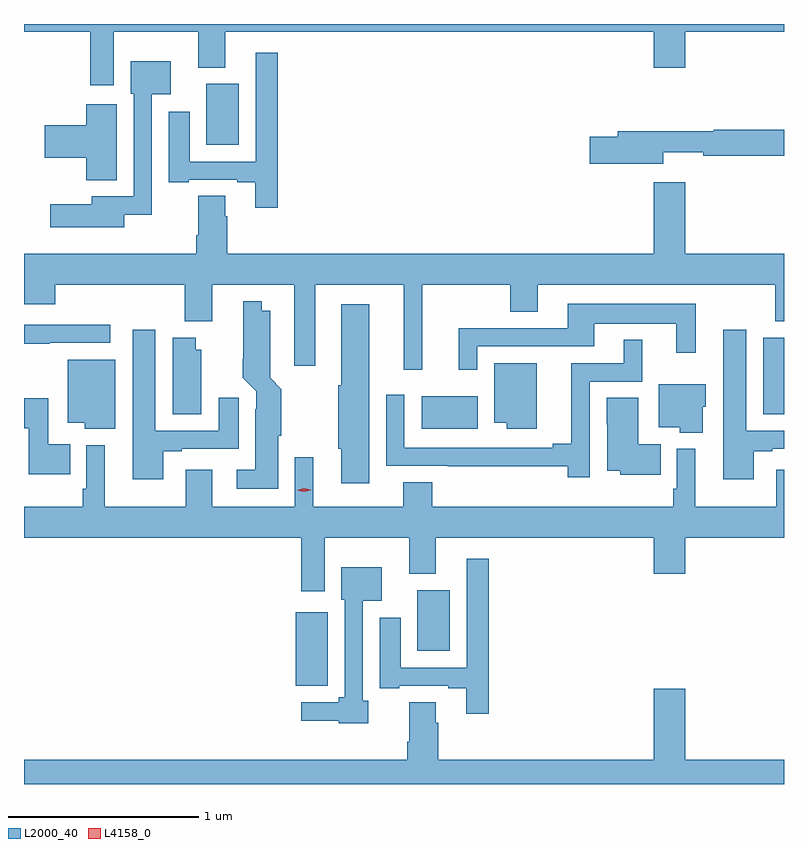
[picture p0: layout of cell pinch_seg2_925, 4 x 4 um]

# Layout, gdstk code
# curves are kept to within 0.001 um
import gdstk
lib = gdstk.Library(unit=1e-6, precision=1e-09)
def R(c, l, rs):  # rectangles x0, y0, x1, y1
    for r in rs: c.add(gdstk.rectangle(r[:2], r[2:], *l))
def P(c, l, *ps):  # polygons
    for p in ps: c.add(gdstk.Polygon(p, *l))
L2000_40 = (2000, 40)
L4158_0 = (4158, 0)

pinch_seg2_925 = lib.new_cell('pinch_seg2_925')
R(pinch_seg2_925, L2000_40, [(330.956,653.519,331.123,653.905), (331.595,653.702,331.765,654.022), (331.619,654.872,331.912,655.042), (333.416,654.946,333.525,655.351), (330.485,656.366,330.655,656.686)])
P(pinch_seg2_925, L2000_40, [(329.998,656.96),(330.443,656.96),(330.443,656.771),(330.583,656.771),(330.583,656.96),(332.84,656.96),(332.84,656.772),(333.004,656.772),(333.004,656.96),(333.525,656.96),(333.525,657.001),(329.525,657.001),(329.525,656.96),(329.873,656.96),(329.873,656.679),(329.998,656.679)],
  [(330.86,656.851),(330.744,656.851),(330.744,656.277),(330.397,656.277),(330.397,656.539),(330.287,656.539),(330.287,656.169),(330.391,656.169),(330.391,656.181),(330.647,656.181),(330.647,656.169),(330.743,656.169),(330.743,656.034),(330.86,656.034)],
  [(330.052,655.997),(330.198,655.997),(330.198,656.63),(330.298,656.63),(330.298,656.806),(330.086,656.806),(330.086,656.634),(330.102,656.634),(330.102,656.094),(329.882,656.094),(329.882,656.053),(329.664,656.053),(329.664,655.931),(330.052,655.931)],
  [(330.013,656.578),(329.852,656.578),(329.852,656.468),(329.634,656.468),(329.634,656.297),(329.852,656.297),(329.852,656.179),(330.013,656.179)],
  [(332.89,656.327),(333.1,656.327),(333.1,656.308),(333.525,656.308),(333.525,656.444),(333.155,656.444),(333.155,656.437),(332.651,656.437),(332.651,656.408),(332.502,656.408),(332.502,656.266),(332.89,656.266)],
  [(331.622,655.628),(332.083,655.628),(332.083,655.486),(332.23,655.486),(332.23,655.628),(333.478,655.628),(333.478,655.436),(333.525,655.436),(333.525,655.792),(333.004,655.792),(333.004,656.167),(332.84,656.167),(332.84,655.792),(330.596,655.792),(330.596,655.988),(330.583,655.988),(330.583,656.096),(330.443,656.096),(330.443,655.888),(330.431,655.888),(330.431,655.792),(329.525,655.792),(329.525,655.526),(329.69,655.526),(329.69,655.628),(330.37,655.628),(330.37,655.436),(330.517,655.436),(330.517,655.628),(330.947,655.628),(330.947,655.203),(331.057,655.203),(331.057,655.628),(331.523,655.628),(331.523,655.182),(331.622,655.182)],
  [(330.862,654.834),(330.88,654.834),(330.88,655.079),(330.821,655.138),(330.82,655.492),(330.775,655.492),(330.775,655.543),(330.678,655.543),(330.677,655.138),(330.747,655.068),(330.747,654.974),(330.743,654.974),(330.743,654.655),(330.645,654.655),(330.645,654.554),(330.862,654.554)],
  [(331.911,655.305),(332.527,655.305),(332.527,655.424),(332.957,655.424),(332.957,655.272),(333.061,655.272),(333.061,655.528),(332.387,655.528),(332.387,655.401),(331.814,655.401),(331.814,655.182),(331.911,655.182)],
  [(331.342,655.525),(331.196,655.525),(331.196,655.101),(331.178,655.101),(331.178,654.765),(331.196,654.765),(331.196,654.585),(331.342,654.585)],
  [(329.66,655.323),(329.98,655.323),(329.98,655.419),(329.525,655.419),(329.525,655.318),(329.66,655.318)],
  [(333.367,654.753),(333.463,654.753),(333.463,654.765),(333.525,654.765),(333.525,654.861),(333.325,654.861),(333.325,655.393),(333.206,655.393),(333.206,654.606),(333.367,654.606)],
  [(330.259,654.753),(330.355,654.753),(330.355,654.765),(330.655,654.765),(330.655,655.033),(330.551,655.033),(330.551,654.861),(330.217,654.861),(330.217,655.393),(330.098,655.393),(330.098,654.606),(330.259,654.606)],
  [(330.457,655.287),(330.43,655.287),(330.43,655.351),(330.308,655.351),(330.308,654.946),(330.457,654.946)],
  [(332.502,655.119),(332.779,655.119),(332.779,655.339),(332.681,655.339),(332.681,655.215),(332.405,655.215),(332.405,654.791),(332.309,654.791),(332.309,654.771),(331.527,654.771),(331.527,655.051),(331.431,655.051),(331.431,654.675),(331.756,654.675),(331.756,654.674),(332.386,654.674),(332.386,654.615),(332.502,654.615)],
  [(330.004,655.234),(329.756,655.234),(329.756,654.902),(329.846,654.902),(329.846,654.872),(330.004,654.872)],
  [(332.224,655.216),(332,655.216),(332,654.902),(332.066,654.902),(332.066,654.872),(332.224,654.872)],
  [(333.097,654.987),(333.112,654.987),(333.112,655.105),(332.867,655.105),(332.867,654.878),(332.976,654.878),(332.976,654.851),(333.097,654.851)],
  [(332.876,654.79),(332.758,654.79),(332.758,655.034),(332.591,655.034),(332.591,654.894),(332.594,654.894),(332.594,654.65),(332.664,654.65),(332.664,654.629),(332.876,654.629)],
  [(329.768,654.79),(329.653,654.79),(329.653,655.03),(329.525,655.03),(329.525,654.874),(329.549,654.874),(329.549,654.632),(329.768,654.632)],
  [(331.108,654.296),(331.553,654.296),(331.553,654.107),(331.693,654.107),(331.693,654.296),(332.84,654.296),(332.84,654.108),(333.004,654.108),(333.004,654.296),(333.525,654.296),(333.525,654.655),(333.485,654.655),(333.485,654.46),(333.058,654.46),(333.058,654.766),(332.961,654.766),(332.961,654.556),(332.941,654.556),(332.941,654.46),(331.673,654.46),(331.673,654.59),(331.52,654.59),(331.52,654.46),(331.048,654.46),(331.048,654.721),(330.951,654.721),(330.951,654.46),(330.517,654.46),(330.517,654.655),(330.377,654.655),(330.377,654.46),(329.95,654.46),(329.95,654.784),(329.853,654.784),(329.853,654.556),(329.833,654.556),(329.833,654.46),(329.525,654.46),(329.525,654.296),(330.983,654.296),(330.983,654.015),(331.108,654.015)],
  [(331.97,654.187),(331.854,654.187),(331.854,653.613),(331.507,653.613),(331.507,653.875),(331.397,653.875),(331.397,653.505),(331.501,653.505),(331.501,653.517),(331.757,653.517),(331.757,653.505),(331.853,653.505),(331.853,653.37),(331.97,653.37)],
  [(331.336,653.439),(331.308,653.439),(331.308,653.966),(331.408,653.966),(331.408,654.142),(331.196,654.142),(331.196,653.97),(331.212,653.97),(331.212,653.458),(331.182,653.458),(331.182,653.43),(330.984,653.43),(330.984,653.333),(331.182,653.333),(331.182,653.321),(331.336,653.321)],
  [(333.525,653.128),(333.004,653.128),(333.004,653.503),(332.84,653.503),(332.84,653.128),(331.706,653.128),(331.706,653.324),(331.693,653.324),(331.693,653.432),(331.553,653.432),(331.553,653.224),(331.541,653.224),(331.541,653.128),(329.525,653.128),(329.525,653.001),(333.525,653.001)])
P(pinch_seg2_925, L4158_0, [(330.998,654.538),(330.963,654.547),(330.963,654.548),(330.963,654.548),(330.998,654.558),(331.033,654.549),(331.033,654.548),(331.033,654.548)])

lib.write_gds('pinch_seg2_925.gds')
